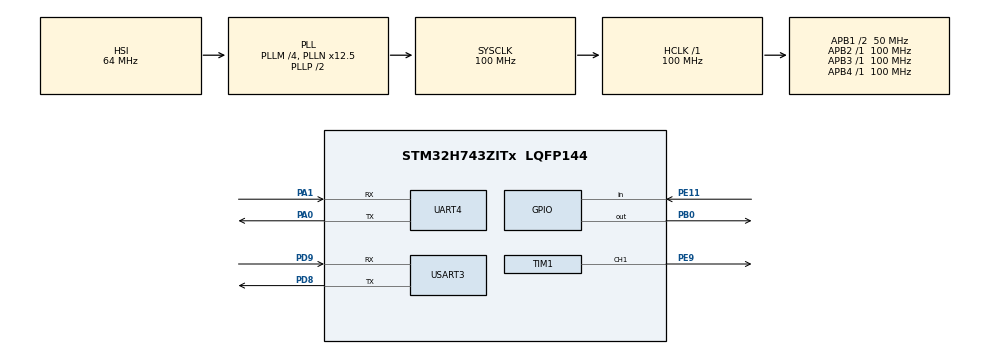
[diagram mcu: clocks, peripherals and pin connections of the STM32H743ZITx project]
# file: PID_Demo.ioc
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Mcu.Family=STM32H7
Mcu.Name=STM32H743ZITx
Mcu.Package=LQFP144
NVIC.PriorityGroup=NVIC_PRIORITYGROUP_4
NVIC.UART4_IRQn=true\:0\:0\:false\:false\:true\:true\:true\:true
NVIC.USART3_IRQn=true\:0\:0\:false\:false\:true\:true\:true\:true
PA0.Mode=Asynchronous
PA0.Signal=UART4_TX
PA1.Mode=Asynchronous
PA1.Signal=UART4_RX
PB0.Signal=GPIO_Output
PD8.Mode=Asynchronous
PD8.Signal=USART3_TX
PD9.Mode=Asynchronous
PD9.Signal=USART3_RX
PE11.Signal=GPIO_Input
PE9.Signal=S_TIM1_CH1
ProjectManager.HeapSize=0x200
ProjectManager.StackSize=0x400
ProjectManager.TargetToolchain=STM32CubeIDE
RCC.ADCFreq_Value=129000000
RCC.APB1Freq_Value=50000000
RCC.APB2Freq_Value=100000000
RCC.APB3Freq_Value=100000000
RCC.APB4Freq_Value=100000000
RCC.CortexFreq_Value=100000000
RCC.D2PPRE1=RCC_APB1_DIV2
RCC.DIVM1=4
RCC.DIVN1=12
RCC.HCLKFreq_Value=100000000
RCC.PLL2FRACN=0
RCC.PLL3FRACN=0
RCC.PLLFRACN=4096
RCC.SYSCLKFreq_VALUE=100000000
RCC.SYSCLKSource=RCC_SYSCLKSOURCE_PLLCLK
RCC.USBFreq_Value=100000000
SH.S_TIM1_CH1.0=TIM1_CH1,Output Compare1 CH1
TIM1.AutoReloadPreload=TIM_AUTORELOAD_PRELOAD_ENABLE
TIM1.Channel-Output\ Compare1\ CH1=TIM_CHANNEL_1
TIM1.OC1Preload=DISABLE
TIM1.OCMode_1=TIM_OCMODE_TIMING
TIM1.Period=999
TIM1.Prescaler=99
TIM1.Pulse-Output\ Compare1\ CH1=0
USART3.VirtualMode-Asynchronous=VM_ASYNC
board=custom

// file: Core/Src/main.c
/* USER CODE BEGIN Header */
/**
  ******************************************************************************
  * @file           : main.c
  * @brief          : Main program body
  ******************************************************************************
  * @attention
  *
  * Copyright (c) 2024 STMicroelectronics.
  * All rights reserved.
  *
  * This software is licensed under terms that can be found in the LICENSE file
  * in the root directory of this software component.
  * If no LICENSE file comes with this software, it is provided AS-IS.
  *
  ******************************************************************************
  */
/* USER CODE END Header */
#include "main.h"

/* USER CODE BEGIN PD */
#define RX_BUFFER_SIZE 9  // Size of the buffer that receives the data

/* USER CODE END PD */

TIM_HandleTypeDef htim1;

UART_HandleTypeDef huart4;
UART_HandleTypeDef huart3;

/* USER CODE BEGIN PV */
uint8_t RxBuffer[RX_BUFFER_SIZE]; // Buffer to hold received data
/* USER CODE END PV */

void SystemClock_Config(void);
static void MPU_Config(void);
static void MX_GPIO_Init(void);
static void MX_UART4_Init(void);
static void MX_USART3_UART_Init(void);
static void MX_TIM1_Init(void);
/* USER CODE BEGIN PFP */
void HAL_UART_RxCpltCallback(UART_HandleTypeDef *huart);
void user_pwm_setvalue(uint16_t value);
/* USER CODE END PFP */

int main(void)
{

  /* MPU Configuration--------------------------------------------------------*/
  MPU_Config();

  /* MCU Configuration--------------------------------------------------------*/

  /* Reset of all peripherals, Initializes the Flash interface and the Systick. */
  HAL_Init();

  /* Configure the system clock */
  SystemClock_Config();

  /* Initialize all configured peripherals */
  MX_GPIO_Init();
  MX_UART4_Init();
  MX_USART3_UART_Init();
  MX_TIM1_Init();
  /* USER CODE BEGIN 2 */
  HAL_TIM_PWM_Start(&htim1, TIM_CHANNEL_1);

  user_pwm_setvalue(8);

  /* USER CODE END 2 */

  /* Infinite loop */
  /* USER CODE BEGIN WHILE */
  while (1)
  {
	  HAL_UART_Receive_IT(&huart3, RxBuffer, RX_BUFFER_SIZE);
	  HAL_Delay(100);

    /* USER CODE END WHILE */

  }
}

void SystemClock_Config(void)
{
  RCC_OscInitTypeDef RCC_OscInitStruct = {0};
  RCC_ClkInitTypeDef RCC_ClkInitStruct = {0};

  /** Supply configuration update enable
  */
  HAL_PWREx_ConfigSupply(PWR_LDO_SUPPLY);

  /** Configure the main internal regulator output voltage
  */
  __HAL_PWR_VOLTAGESCALING_CONFIG(PWR_REGULATOR_VOLTAGE_SCALE3);

  while(!__HAL_PWR_GET_FLAG(PWR_FLAG_VOSRDY)) {}

  /** Initializes the RCC Oscillators according to the specified parameters
  * in the RCC_OscInitTypeDef structure.
  */
  RCC_OscInitStruct.OscillatorType = RCC_OSCILLATORTYPE_HSI;
  RCC_OscInitStruct.HSIState = RCC_HSI_DIV1;
  RCC_OscInitStruct.HSICalibrationValue = RCC_HSICALIBRATION_DEFAULT;
  RCC_OscInitStruct.PLL.PLLState = RCC_PLL_ON;
  RCC_OscInitStruct.PLL.PLLSource = RCC_PLLSOURCE_HSI;
  RCC_OscInitStruct.PLL.PLLM = 4;
  RCC_OscInitStruct.PLL.PLLN = 12;
  RCC_OscInitStruct.PLL.PLLP = 2;
  RCC_OscInitStruct.PLL.PLLQ = 2;
  RCC_OscInitStruct.PLL.PLLR = 2;
  RCC_OscInitStruct.PLL.PLLRGE = RCC_PLL1VCIRANGE_3;
  RCC_OscInitStruct.PLL.PLLVCOSEL = RCC_PLL1VCOWIDE;
  RCC_OscInitStruct.PLL.PLLFRACN = 4096;
  if (HAL_RCC_OscConfig(&RCC_OscInitStruct) != HAL_OK)
  {
    Error_Handler();
  }

  /** Initializes the CPU, AHB and APB buses clocks
  */
  RCC_ClkInitStruct.ClockType = RCC_CLOCKTYPE_HCLK|RCC_CLOCKTYPE_SYSCLK
                              |RCC_CLOCKTYPE_PCLK1|RCC_CLOCKTYPE_PCLK2
                              |RCC_CLOCKTYPE_D3PCLK1|RCC_CLOCKTYPE_D1PCLK1;
  RCC_ClkInitStruct.SYSCLKSource = RCC_SYSCLKSOURCE_PLLCLK;
  RCC_ClkInitStruct.SYSCLKDivider = RCC_SYSCLK_DIV1;
  RCC_ClkInitStruct.AHBCLKDivider = RCC_HCLK_DIV1;
  RCC_ClkInitStruct.APB3CLKDivider = RCC_APB3_DIV1;
  RCC_ClkInitStruct.APB1CLKDivider = RCC_APB1_DIV2;
  RCC_ClkInitStruct.APB2CLKDivider = RCC_APB2_DIV1;
  RCC_ClkInitStruct.APB4CLKDivider = RCC_APB4_DIV1;

  if (HAL_RCC_ClockConfig(&RCC_ClkInitStruct, FLASH_LATENCY_2) != HAL_OK)
  {
    Error_Handler();
  }
}

static void MX_TIM1_Init(void)
{

  TIM_MasterConfigTypeDef sMasterConfig = {0};
  TIM_OC_InitTypeDef sConfigOC = {0};
  TIM_BreakDeadTimeConfigTypeDef sBreakDeadTimeConfig = {0};

  htim1.Instance = TIM1;
  htim1.Init.Prescaler = 99;
  htim1.Init.CounterMode = TIM_COUNTERMODE_UP;
  htim1.Init.Period = 999;
  htim1.Init.ClockDivision = TIM_CLOCKDIVISION_DIV1;
  htim1.Init.RepetitionCounter = 0;
  htim1.Init.AutoReloadPreload = TIM_AUTORELOAD_PRELOAD_ENABLE;
  if (HAL_TIM_OC_Init(&htim1) != HAL_OK)
  {
    Error_Handler();
  }
  sMasterConfig.MasterOutputTrigger = TIM_TRGO_RESET;
  sMasterConfig.MasterOutputTrigger2 = TIM_TRGO2_RESET;
  sMasterConfig.MasterSlaveMode = TIM_MASTERSLAVEMODE_DISABLE;
  if (HAL_TIMEx_MasterConfigSynchronization(&htim1, &sMasterConfig) != HAL_OK)
  {
    Error_Handler();
  }
  sConfigOC.OCMode = TIM_OCMODE_TIMING;
  sConfigOC.Pulse = 0;
  sConfigOC.OCPolarity = TIM_OCPOLARITY_HIGH;
  sConfigOC.OCNPolarity = TIM_OCNPOLARITY_HIGH;
  sConfigOC.OCFastMode = TIM_OCFAST_DISABLE;
  sConfigOC.OCIdleState = TIM_OCIDLESTATE_RESET;
  sConfigOC.OCNIdleState = TIM_OCNIDLESTATE_RESET;
  if (HAL_TIM_OC_ConfigChannel(&htim1, &sConfigOC, TIM_CHANNEL_1) != HAL_OK)
  {
    Error_Handler();
  }
  sBreakDeadTimeConfig.OffStateRunMode = TIM_OSSR_DISABLE;
  sBreakDeadTimeConfig.OffStateIDLEMode = TIM_OSSI_DISABLE;
  sBreakDeadTimeConfig.LockLevel = TIM_LOCKLEVEL_OFF;
  sBreakDeadTimeConfig.DeadTime = 0;
  sBreakDeadTimeConfig.BreakState = TIM_BREAK_DISABLE;
  sBreakDeadTimeConfig.BreakPolarity = TIM_BREAKPOLARITY_HIGH;
  sBreakDeadTimeConfig.BreakFilter = 0;
  sBreakDeadTimeConfig.Break2State = TIM_BREAK2_DISABLE;
  sBreakDeadTimeConfig.Break2Polarity = TIM_BREAK2POLARITY_HIGH;
  sBreakDeadTimeConfig.Break2Filter = 0;
  sBreakDeadTimeConfig.AutomaticOutput = TIM_AUTOMATICOUTPUT_DISABLE;
  if (HAL_TIMEx_ConfigBreakDeadTime(&htim1, &sBreakDeadTimeConfig) != HAL_OK)
  {
    Error_Handler();
  }
  HAL_TIM_MspPostInit(&htim1);

}

static void MX_UART4_Init(void)
{

  huart4.Instance = UART4;
  huart4.Init.BaudRate = 115200;
  huart4.Init.WordLength = UART_WORDLENGTH_8B;
  huart4.Init.StopBits = UART_STOPBITS_1;
  huart4.Init.Parity = UART_PARITY_NONE;
  huart4.Init.Mode = UART_MODE_TX_RX;
  huart4.Init.HwFlowCtl = UART_HWCONTROL_NONE;
  huart4.Init.OverSampling = UART_OVERSAMPLING_16;
  huart4.Init.OneBitSampling = UART_ONE_BIT_SAMPLE_DISABLE;
  huart4.Init.ClockPrescaler = UART_PRESCALER_DIV1;
  huart4.AdvancedInit.AdvFeatureInit = UART_ADVFEATURE_NO_INIT;
  if (HAL_UART_Init(&huart4) != HAL_OK)
  {
    Error_Handler();
  }
  if (HAL_UARTEx_SetTxFifoThreshold(&huart4, UART_TXFIFO_THRESHOLD_1_8) != HAL_OK)
  {
    Error_Handler();
  }
  if (HAL_UARTEx_SetRxFifoThreshold(&huart4, UART_RXFIFO_THRESHOLD_1_8) != HAL_OK)
  {
    Error_Handler();
  }
  if (HAL_UARTEx_DisableFifoMode(&huart4) != HAL_OK)
  {
    Error_Handler();
  }

}

static void MX_USART3_UART_Init(void)
{

  huart3.Instance = USART3;
  huart3.Init.BaudRate = 115200;
  huart3.Init.WordLength = UART_WORDLENGTH_8B;
  huart3.Init.StopBits = UART_STOPBITS_1;
  huart3.Init.Parity = UART_PARITY_NONE;
  huart3.Init.Mode = UART_MODE_TX_RX;
  huart3.Init.HwFlowCtl = UART_HWCONTROL_NONE;
  huart3.Init.OverSampling = UART_OVERSAMPLING_16;
  huart3.Init.OneBitSampling = UART_ONE_BIT_SAMPLE_DISABLE;
  huart3.Init.ClockPrescaler = UART_PRESCALER_DIV1;
  huart3.AdvancedInit.AdvFeatureInit = UART_ADVFEATURE_NO_INIT;
  if (HAL_UART_Init(&huart3) != HAL_OK)
  {
    Error_Handler();
  }
  if (HAL_UARTEx_SetTxFifoThreshold(&huart3, UART_TXFIFO_THRESHOLD_1_8) != HAL_OK)
  {
    Error_Handler();
  }
  if (HAL_UARTEx_SetRxFifoThreshold(&huart3, UART_RXFIFO_THRESHOLD_1_8) != HAL_OK)
  {
    Error_Handler();
  }
  if (HAL_UARTEx_DisableFifoMode(&huart3) != HAL_OK)
  {
    Error_Handler();
  }

}

static void MX_GPIO_Init(void)
{
  GPIO_InitTypeDef GPIO_InitStruct = {0};

  /* GPIO Ports Clock Enable */
  __HAL_RCC_GPIOA_CLK_ENABLE();
  __HAL_RCC_GPIOB_CLK_ENABLE();
  __HAL_RCC_GPIOE_CLK_ENABLE();
  __HAL_RCC_GPIOD_CLK_ENABLE();

  /*Configure GPIO pin Output Level */
  HAL_GPIO_WritePin(GPIOB, GPIO_PIN_0, GPIO_PIN_RESET);

  /*Configure GPIO pin : PB0 */
  GPIO_InitStruct.Pin = GPIO_PIN_0;
  GPIO_InitStruct.Mode = GPIO_MODE_OUTPUT_PP;
  GPIO_InitStruct.Pull = GPIO_NOPULL;
  GPIO_InitStruct.Speed = GPIO_SPEED_FREQ_LOW;
  HAL_GPIO_Init(GPIOB, &GPIO_InitStruct);

  /*Configure GPIO pin : PE11 */
  GPIO_InitStruct.Pin = GPIO_PIN_11;
  GPIO_InitStruct.Mode = GPIO_MODE_INPUT;
  GPIO_InitStruct.Pull = GPIO_NOPULL;
  HAL_GPIO_Init(GPIOE, &GPIO_InitStruct);

}

/* USER CODE BEGIN 4 */

void user_pwm_setvalue(uint16_t value)
{
    TIM_OC_InitTypeDef sConfigOC;

    sConfigOC.OCMode = TIM_OCMODE_PWM1;
    sConfigOC.Pulse = value;
    sConfigOC.OCPolarity = TIM_OCPOLARITY_HIGH;
    sConfigOC.OCFastMode = TIM_OCFAST_DISABLE;
    HAL_TIM_PWM_ConfigChannel(&htim1, &sConfigOC, TIM_CHANNEL_1);
    HAL_TIM_PWM_Start(&htim1, TIM_CHANNEL_1);
}

void HAL_UART_RxCpltCallback(UART_HandleTypeDef *huart)
{
	HAL_GPIO_TogglePin (GPIOB, GPIO_PIN_0);
	HAL_UART_Transmit(&huart4, RxBuffer, RX_BUFFER_SIZE, HAL_MAX_DELAY);
    HAL_UART_Receive_IT(&huart3, RxBuffer, RX_BUFFER_SIZE);
}
/* USER CODE END 4 */

/* MPU Configuration */

void MPU_Config(void)
{
  MPU_Region_InitTypeDef MPU_InitStruct = {0};

  /* Disables the MPU */
  HAL_MPU_Disable();

  /** Initializes and configures the Region and the memory to be protected
  */
  MPU_InitStruct.Enable = MPU_REGION_ENABLE;
  MPU_InitStruct.Number = MPU_REGION_NUMBER0;
  MPU_InitStruct.BaseAddress = 0x0;
  MPU_InitStruct.Size = MPU_REGION_SIZE_4GB;
  MPU_InitStruct.SubRegionDisable = 0x87;
  MPU_InitStruct.TypeExtField = MPU_TEX_LEVEL0;
  MPU_InitStruct.AccessPermission = MPU_REGION_NO_ACCESS;
  MPU_InitStruct.DisableExec = MPU_INSTRUCTION_ACCESS_DISABLE;
  MPU_InitStruct.IsShareable = MPU_ACCESS_SHAREABLE;
  MPU_InitStruct.IsCacheable = MPU_ACCESS_NOT_CACHEABLE;
  MPU_InitStruct.IsBufferable = MPU_ACCESS_NOT_BUFFERABLE;

  HAL_MPU_ConfigRegion(&MPU_InitStruct);
  /* Enables the MPU */
  HAL_MPU_Enable(MPU_PRIVILEGED_DEFAULT);

}

void Error_Handler(void)
{
  __disable_irq();
  while (1)
  {
  }
}
